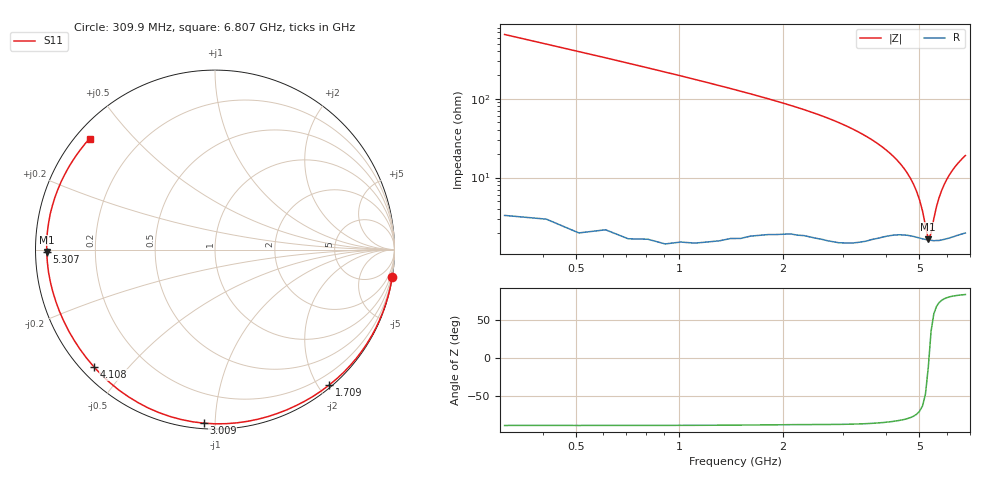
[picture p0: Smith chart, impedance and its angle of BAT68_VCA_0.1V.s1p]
! Infineon Technologies  Discrete & RF Semiconductors
! BAT68
! VCA = 0.1 V
! One-Port S-Parameters
# Hz  S  MA  R  50
!f  S11
!Hz  Mag  Ang
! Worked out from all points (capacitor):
!   66 points, 309.9 MHz to 6.807 GHz, reference 50 ohm
!   read as one part to ground: C = 779 fF near 309.9 MHz
!   lowest |Z| = 1.64 ohm at 5.307 GHz (marker M1)
!   series resonance near 5.332 GHz, so ESL is about 1.1 nH
!   S11 on the Smith chart (normalised r, x): 309.9 MHz: 0, -13; 1.709 GHz: 0.04, -2.15; 3.009 GHz: 0.03, -0.94; 4.108 GHz: 0.04, -0.40; 5.307 GHz: 0.03, -0.01; 6.807 GHz: 0.04, +0.38
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3.0985e8  0.9992 -8.7
5.0975e8  0.9988 -14.3
8.096e8  0.9974 -22.9
1.0095e9  0.9963 -28.7
1.2094e9  0.9946 -34.6
1.4093e9  0.9919 -40.6
1.70915e9  0.987 -49.8
2.009e9  0.9816 -59.3
2.2089e9  0.9784 -65.7
2.4088e9  0.9758 -72.4
2.6087e9  0.9738 -79.2
2.8086e9  0.9718 -86.4
3.0085e9  0.969 -93.8
3.30835e9  0.963 -105.1
3.6082e9  0.9542 -116.7
3.8081e9  0.9482 -124.5
4.10795e9  0.9392 -135.9
4.4078e9  0.9334 -147.2
4.6077e9  0.9321 -154.6
4.8076e9  0.9328 -161.8
5.0075e9  0.9348 -168.9
5.2074e9  0.9367 -175.8
5.30735e9  0.938 -179.2
5.6072e9  0.939 170.9
5.8071e9  0.9386 164.8
6.007e9  0.9375 158.9
6.4068e9  0.9347 148.2
6.8066e9  0.9333 138.5
